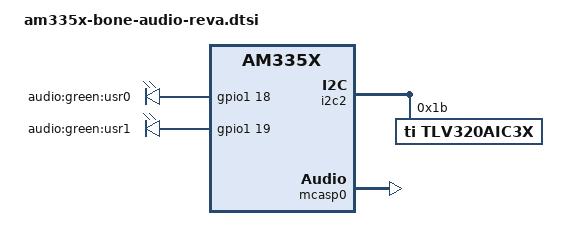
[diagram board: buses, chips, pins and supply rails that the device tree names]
/*
 * Copyright (C) 2012 Texas Instruments Incorporated - http://www.ti.com/
 *
 * This program is free software; you can redistribute it and/or modify
 * it under the terms of the GNU General Public License version 2 as
 * published by the Free Software Foundation.
 */

&ocp {
	/* gpio */
	P9_14_pinmux {
		mode = "P9_14_gpio_pu_pin";
	};
	P9_16_pinmux {
		mode = "P9_16_gpio_pu_pin";
	};
	/* audio */
	P9_25_pinmux {
		status = "disabled";
	};
	P9_28_pinmux {
		status = "disabled";
	};
	P9_29_pinmux {
		status = "disabled";
	};
	P9_31_pinmux {
		status = "disabled";
	};

	gpio-leds-cape-audio {
		compatible = "gpio-leds";
		pinctrl-names = "default";
		pinctrl-0 = <>;

		audio-led0 {
			label = "audio:green:usr0";
			gpios = <&gpio1 18 0>;
			linux,default-trigger = "heartbeat";
			default-state = "off";
		};

		audio-led1 {
			label = "audio:green:usr1";
			gpios = <&gpio1 19 0>;
			linux,default-trigger = "mmc0";
			default-state = "off";
		};
	};
};

&i2c2 {
	tlv320aic3x: tlv320aic3x@1b {
		compatible = "ti,tlv320aic3x";
		reg = <0x1b>;
		status = "okay";
	};
};

&mcasp0 {
	pinctrl-names = "default";
	pinctrl-0 = <&mcasp0_pins_audio_reva>;
	status = "okay";
	op-mode = <0>;          /* MCASP_IIS_MODE */
	tdm-slots = <2>;
	num-serializer = <16>;
	serial-dir = <  /* 0: INACTIVE, 1: TX, 2: RX */
		0 0 2 1
		0 0 0 0
		0 0 0 0
		0 0 0 0
	>;
	tx-num-evt = <1>;
	rx-num-evt = <1>;
};

/ {
	sound {
		compatible = "ti,da830-evm-audio";
		ti,model = "DA830 EVM";
		ti,audio-codec = <&tlv320aic3x>;
		ti,mcasp-controller = <&mcasp0>;
		ti,codec-clock-rate = <12000000>;
		ti,audio-routing =
			"Headphone Jack",       "HPLOUT",
			"Headphone Jack",       "HPROUT",
			"LINE1L",               "Line In",
			"LINE1R",               "Line In";
	};
};
